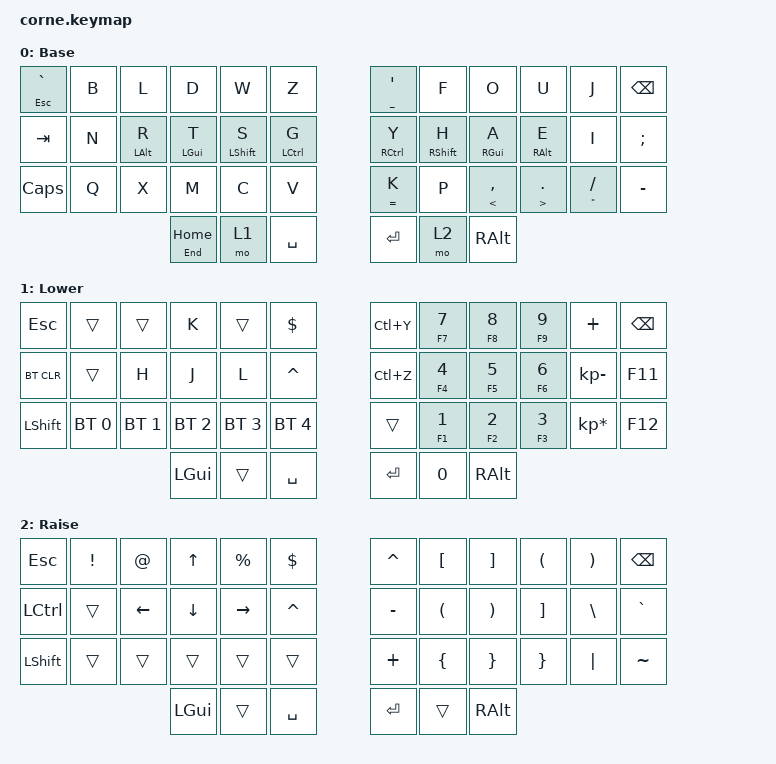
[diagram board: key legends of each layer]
/*
 * Copyright (c) 2020 The ZMK Contributors
 *
 * SPDX-License-Identifier: MIT
 */

#include <behaviors.dtsi>
#include <dt-bindings/zmk/bt.h>
#include <dt-bindings/zmk/keys.h>

/ {
    behaviors {
        hmr: hmr {
            compatible = "zmk,behavior-hold-tap";
            label = "HMR";
            bindings = <&kp>, <&kp>;

            #binding-cells = <2>;
            tapping-term-ms = <280>;
            quick-tap-ms = <175>;
            hold-trigger-on-release;
            flavor = "balanced";
            hold-trigger-key-positions = <41 40 39 38 37 36 0 1 2 3 4 5 12 13 14 15 16 17 24 25 26 27 28 29>;
        };

        hml: hml {
            compatible = "zmk,behavior-hold-tap";
            label = "HML";
            bindings = <&kp>, <&kp>;

            #binding-cells = <2>;
            tapping-term-ms = <280>;
            quick-tap-ms = <175>;
            flavor = "balanced";
            hold-trigger-on-release;
            hold-trigger-key-positions = <41 36 37 38 39 40 41 6 7 8 9 10 11 18 19 20 21 22 23 30 31 32 33 34 35>;
        };
    };

    combos {
        compatible = "zmk,combos";

        L_Bracket {
            bindings = <&kp LEFT_BRACKET>;
            key-positions = <7 8>;
        };

        R_Bracket {
            bindings = <&kp RIGHT_BRACKET>;
            key-positions = <9 10>;
        };

        L_Paren {
            bindings = <&kp LEFT_PARENTHESIS>;
            key-positions = <19 20>;
        };

        R_Paren {
            bindings = <&kp RIGHT_PARENTHESIS>;
            key-positions = <21 22>;
        };

        L_Brace {
            bindings = <&kp LEFT_BRACE>;
            key-positions = <31 32>;
        };

        R_Brace {
            bindings = <&kp RIGHT_BRACE>;
            key-positions = <33 34>;
        };

        cut {
            bindings = <&kp LC(X)>;
            key-positions = <14 15>;
        };

        copy {
            bindings = <&kp LC(C)>;
            key-positions = <15 16>;
        };

        paste {
            bindings = <&kp LC(V)>;
            key-positions = <27 28>;
        };
    };

    keymap {
        compatible = "zmk,keymap";

        default_layer {
            // -----------------------------------------------------------------------------------------
            // |  TAB |  Q  |  W  |  E  |  R  |  T  |   |  Y  |  U   |  I  |  O  |  P  | BKSP |
            // | CTRL |  A  |  S  |  D  |  F  |  G  |   |  H  |  J   |  K  |  L  |  ;  |  '   |
            // | SHFT |  Z  |  X  |  C  |  V  |  B  |   |  N  |  M   |  ,  |  .  |  /  | ESC  |
            //                    | GUI | LWR | SPC |   | ENT | RSE  | ALT |

            display-name = "Base";
            bindings = <
&hml ESCAPE GRAVE  &kp B  &kp L            &kp D            &kp W              &kp Z           &hmr UNDER APOS  &kp F               &kp O                 &kp U                     &kp J                     &kp BSPC
&kp TAB            &kp N  &hml LEFT_ALT R  &hml LEFT_GUI T  &hml LEFT_SHIFT S  &hml LCTRL G    &hmr RCTRL Y     &hmr RIGHT_SHIFT H  &hmr RIGHT_GUI A      &hml RIGHT_ALT E          &kp I                     &kp SEMICOLON
&kp CAPS           &kp Q  &kp X            &kp M            &kp C              &kp V           &hmr EQUAL K     &kp P               &hmr LESS_THAN COMMA  &hmr GREATER_THAN PERIOD  &hmr DOUBLE_QUOTES SLASH  &kp MINUS
                                           &hml END HOME    &mo 1              &kp SPACE       &kp RET          &mo 2               &kp RALT
            >;
        };

        lower_layer {
            // -----------------------------------------------------------------------------------------
            // |  TAB |  1  |  2  |  3  |  4  |  5  |   |  6  |  7  |  8  |  9  |  0  | BKSP |
            // | BTCLR| BT1 | BT2 | BT3 | BT4 | BT5 |   | LFT | DWN |  UP | RGT |     |      |
            // | SHFT |     |     |     |     |     |   |     |     |     |     |     |      |
            //                    | GUI |     | SPC |   | ENT |     | ALT |

            display-name = "Lower";
            bindings = <
&kp ESC     &trans        &trans        &kp K         &trans        &kp DOLLAR      &kp LC(Y)  &hmr F7 NUMBER_7  &hmr F8 NUMBER_8  &hmr F9 NUMBER_9  &kp PLUS         &kp BSPC
&bt BT_CLR  &trans        &kp H         &kp J         &kp L         &kp CARET       &kp LC(Z)  &hmr F4 NUMBER_4  &hmr F5 NUMBER_5  &hmr F6 NUMBER_6  &kp KP_MINUS     &kp F11
&kp LSHFT   &bt BT_SEL 0  &bt BT_SEL 1  &bt BT_SEL 2  &bt BT_SEL 3  &bt BT_SEL 4    &trans     &hmr F1 NUMBER_1  &hmr F2 NUMBER_2  &hmr F3 NUMBER_3  &kp KP_MULTIPLY  &kp F12
                                        &kp LGUI      &trans        &kp SPACE       &kp ENTER  &kp N0            &kp RALT
            >;
        };

        raise_layer {
            // -----------------------------------------------------------------------------------------
            // |  TAB |  !  |  @  |  #  |  $  |  %  |   |  ^  |  &  |  *  |  (  |  )  | BKSP |
            // | CTRL |     |     |     |     |     |   |  -  |  =  |  [  |  ]  |  \  |  `   |
            // | SHFT |     |     |     |     |     |   |  _  |  +  |  {  |  }  | "|" |  ~   |
            //                    | GUI |     | SPC |   | ENT |     | ALT |

            display-name = "Raise";
            bindings = <
&kp ESC    &kp EXCL  &kp AT    &kp UP    &kp PERCENT  &kp DOLLAR    &kp CARET  &kp LEFT_BRACKET      &kp RIGHT_BRACKET      &kp LPAR  &kp RPAR  &kp BSPC
&kp LCTRL  &trans    &kp LEFT  &kp DOWN  &kp RIGHT    &kp CARET     &kp MINUS  &kp LEFT_PARENTHESIS  &kp RIGHT_PARENTHESIS  &kp RBKT  &kp BSLH  &kp GRAVE
&kp LSHFT  &trans    &trans    &trans    &trans       &trans        &kp PLUS   &kp LEFT_BRACE        &kp RIGHT_BRACE        &kp RBRC  &kp PIPE  &kp TILDE
                               &kp LGUI  &trans       &kp SPACE     &kp RET    &trans                &kp RALT
            >;
        };

        extra_1 { status = "reserved"; };

        extra_2 { status = "reserved"; };

        extra_3 { status = "reserved"; };
    };
};
